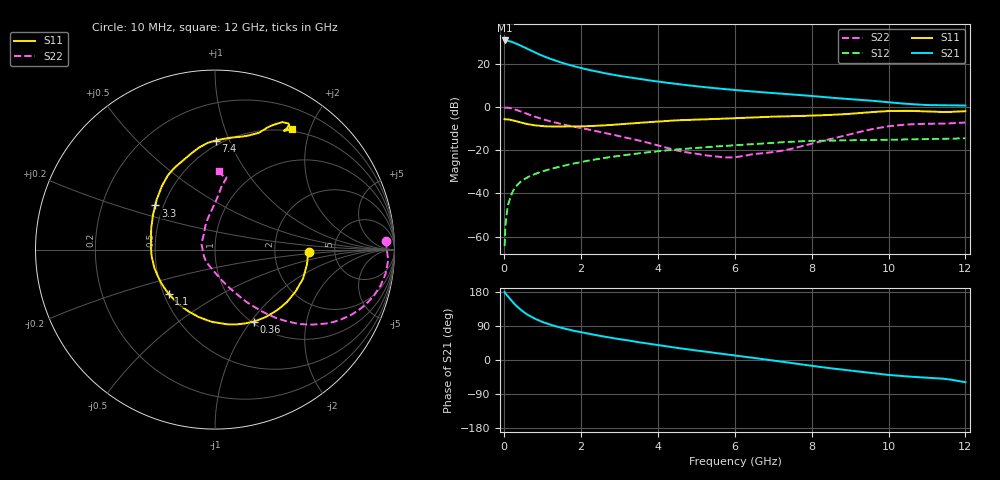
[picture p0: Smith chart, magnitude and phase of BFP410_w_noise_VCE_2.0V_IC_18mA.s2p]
! Infineon Technologies  Discrete & RF Semiconductors
! BFP410
! VCE =  2.0 V,  IC =  18 mA
! Common Emitter S-Parameters:  Nov 2015
# GHz  S  MA  R  50
!  f  S11  S21  S12  S22
! GHz  MAG  ANG  MAG  ANG  MAG  ANG  MAG  ANG
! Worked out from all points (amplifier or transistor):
!   243 points, 10 MHz to 12 GHz, reference 50 ohm
!   highest |S21| = 30.8 dB at 20 MHz (marker M1)
!   |S21| within 3 dB of that: start of sweep to 498.3 MHz
!   unconditionally stable (mu >= 1): start of sweep to 15.06 MHz; 1.899 GHz to end of sweep
!   at 240 MHz: K = 0.26, MSG = 34.2 dB, |S12| = -38.6 dB
!   at 1.84 GHz: K = 0.99, MSG = 22.4 dB, |S12| = -26.1 dB
!   at 12 GHz: K = 1.02, MAG = 6.7 dB, |S12| = -14.5 dB
!   lowest NFmin = 1.63 dB at 900 MHz
!   S11 on the Smith chart (normalised r, x): 10 MHz: 3.19, -0.14; 360 MHz: 1.02, -1.03; 1.1 GHz: 0.53, -0.30; 3.3 GHz: 0.45, +0.27; 7.4 GHz: 0.46, +0.89; 12 GHz: 0.46, +1.72
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0.01  0.523 -1.7  34.4 179.4  0.0006 138.7  0.9526 3.0
0.02  0.5191 -3.1  34.55 177.0  0.0012 95.7  0.9588 -0.5
0.1  0.5166 -18.3  33.81 167.2  0.0053 84.2  0.96 -8.1
0.15  0.5059 -27.4  32.99 160.9  0.0077 80.0  0.9438 -12.3
0.2  0.4962 -36.0  32.02 155.1  0.01 76.7  0.9207 -16.3
0.3  0.471 -52.4  29.6 144.3  0.0141 71.6  0.864 -23.3
0.36  0.4554 -61.6  28.03 138.7  0.0163 69.1  0.8268 -26.9
0.5  0.4216 -80.8  24.42 126.9  0.0208 64.6  0.741 -33.8
0.6  0.4028 -92.6  22.07 119.9  0.0234 62.4  0.6853 -37.6
0.7  0.3869 -103.4  20.01 114.1  0.0258 60.8  0.6363 -40.8
0.9  0.3676 -121.5  16.63 104.2  0.0303 58.7  0.5548 -45.6
1.1  0.3567 -136.3  14.03 96.5  0.0344 57.6  0.4906 -49.3
1.44  0.3512 -155.8  10.96 86.1  0.0414 56.2  0.4107 -54.0
2.02  0.3558 -179.9  7.865 72.8  0.0537 53.5  0.3226 -60.1
2.6  0.3756 161.0  6.071 61.7  0.0658 49.6  0.2516 -66.4
3.3  0.4138 143.5  4.755 50.5  0.0803 44.4  0.1849 -75.6
4.1  0.4671 128.1  3.76 37.9  0.0964 38.0  0.1218 -92.4
6.1  0.5544 103.3  2.422 10.7  0.1316 20.9  0.0705 175.7
7.4  0.6077 89.6  1.977 -6.8  0.1554 8.7  0.104 127.1
8.2  0.6383 79.1  1.73 -18.0  0.165 -0.4  0.1567 107.9
10.2  0.8077 61.0  1.237 -41.0  0.1752 -16.7  0.3721 82.8
12  0.7981 57.7  1.078 -58.6  0.1883 -31.9  0.4362 87.4
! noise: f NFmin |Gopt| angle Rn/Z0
0.45  1.66  0.11  -153  0.17
0.9  1.63  0.12  -155  0.16
1.8  1.76  0.16  -140  0.17
2.4  1.75  0.21  -123  0.24
5.5  2.63  0.42  -104  0.39
10  3.74  0.69  -46  2.37
